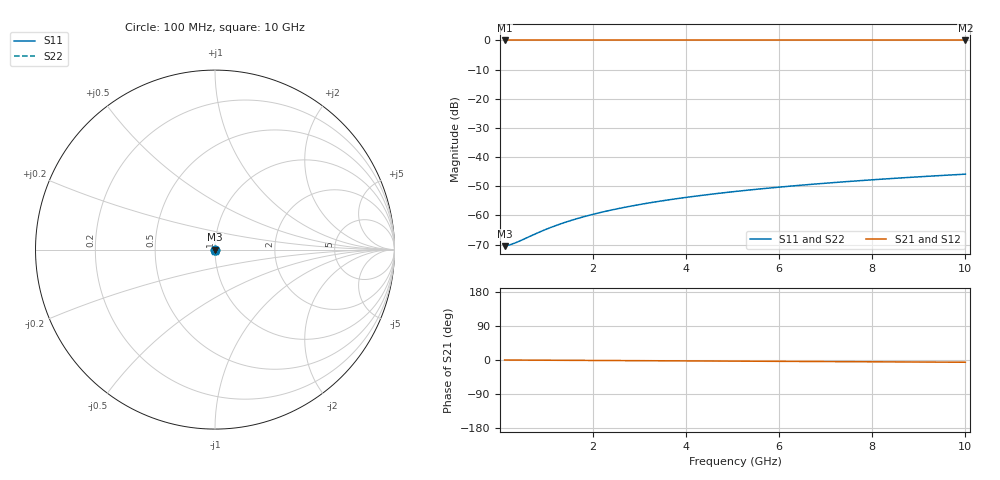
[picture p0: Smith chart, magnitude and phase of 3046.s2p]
# Hz S RI R 50.00
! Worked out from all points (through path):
!   100 points, 100 MHz to 10 GHz, reference 50 ohm
!   highest |S21| = 0.00 dB at 100 MHz (marker M1); lowest = 0.0 dB at 10 GHz (marker M2)
!   lowest |S11| = -70.6 dB at 100 MHz (marker M3), VSWR 1.00, Z = 50 - j0.00501 ohm
!   |S11| at or under -10 dB: start of sweep to end of sweep
!   |S22| runs from -70.6 to -45.9 dB; largest |S21 - S12| = 0
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1e8  0.000292 -5.01e-05  0.9997 -0.00103  0.9997 -0.00103  0.000292 -5.01e-05
2e8  0.000294 -0.0001  0.9997 -0.00205  0.9997 -0.00205  0.000294 -0.0001
3e8  0.000294 -0.00015  0.9997 -0.00308  0.9997 -0.00308  0.000294 -0.00015
4e8  0.000295 -0.0002  0.9997 -0.00411  0.9997 -0.00411  0.000295 -0.0002
9e8  0.000293 -0.000451  0.9996 -0.00925  0.9996 -0.00925  0.000293 -0.000451
1.2e9  0.00029 -0.000602  0.9996 -0.0123  0.9996 -0.0123  0.00029 -0.000602
1.5e9  0.000286 -0.000753  0.9996 -0.0154  0.9996 -0.0154  0.000286 -0.000753
1.8e9  0.000281 -0.000905  0.9995 -0.0185  0.9995 -0.0185  0.000281 -0.000905
2.1e9  0.000275 -0.00106  0.9994 -0.0216  0.9994 -0.0216  0.000275 -0.00106
2.5e9  0.000265 -0.00126  0.9993 -0.0257  0.9993 -0.0257  0.000265 -0.00126
2.9e9  0.000253 -0.00146  0.9992 -0.0298  0.9992 -0.0298  0.000253 -0.00146
3.4e9  0.000236 -0.00172  0.9991 -0.035  0.9991 -0.035  0.000236 -0.00172
3.8e9  0.000221 -0.00192  0.9989 -0.0391  0.9989 -0.0391  0.000221 -0.00192
4.2e9  0.000204 -0.00213  0.9987 -0.0432  0.9987 -0.0432  0.000204 -0.00213
4.6e9  0.000185 -0.00233  0.9985 -0.0473  0.9985 -0.0473  0.000185 -0.00233
5.1e9  0.000158 -0.00259  0.9983 -0.0525  0.9983 -0.0525  0.000158 -0.00259
5.9e9  0.000111 -0.003  0.9978 -0.0608  0.9978 -0.0608  0.000111 -0.003
6.7e9  5.66e-05 -0.00341  0.9972 -0.069  0.9972 -0.069  5.66e-05 -0.00341
7.5e9  -4.69e-06 -0.00382  0.9966 -0.0773  0.9966 -0.0773  -4.69e-06 -0.00382
8.4e9  -8.17e-05 -0.00428  0.9959 -0.0866  0.9959 -0.0866  -8.17e-05 -0.00428
9.2e9  -0.000157 -0.00468  0.9951 -0.0949  0.9951 -0.0949  -0.000157 -0.00468
1e10  -0.000239 -0.00509  0.9943 -0.1032  0.9943 -0.1032  -0.000239 -0.00509
